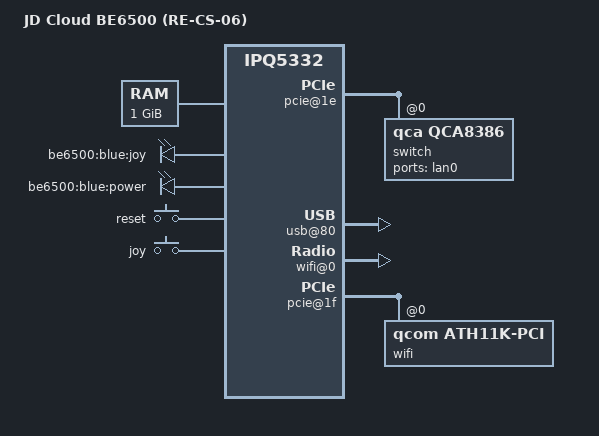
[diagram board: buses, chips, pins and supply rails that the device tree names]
/dts-v1/;
#include "ipq5332.dtsi"
#include "qcom-ipq5332-pci.dtsi"

/ {
    model = "JD Cloud BE6500 (RE-CS-06)";
    compatible = "qcom,ipq5332-be6500", "qcom,ipq5332";

    memory@0 {
        device_type = "memory";
        reg = <0x0 0x40000000>; // 1GB DDR4
    };

    chosen {
        bootargs = "console=ttyMSM0,115200n8 root=PARTUUID=0000 rootfstype=squashfs noinitrd";
    };

    /* 网络交换芯片 QCA8386 */
    pcie@1e {
        compatible = "qcom,ipq5332-pcie";
        reg = <0x1e 0x4>;
        status = "okay";
        #address-cells = <3>;
        #size-cells = <2>;

        switch@0 {
            compatible = "qca,qca8386";
            reg = <0x0 0x0 0x0>;
            port@0 {
                label = "lan0";
                phy-handle = <&phy0>;
                phy-mode = "sgmii";
            };
            // 其他端口定义（需根据硬件连接补充）
        };
    };

    /* USB3.0控制器 */
    usb@80 {
        compatible = "qcom,ipq5332-usb3";
        reg = <0x80 0x100>;
        status = "okay";
    };

    /* 2.4G Wi-Fi 7（集成于CPU） */
    wifi@0 {
        compatible = "qcom,wmac";
        reg = <0x0 0x1000>;
        interrupts = <0x8 0x4>;
        qcom,wifi-mac-addr = [00 11 22 33 44 55];
    };

    /* 5G Wi-Fi（QCN6224） */
    pcie@1f {
        compatible = "qcom,ipq5332-pcie";
        reg = <0x1f 0x4>;
        status = "okay";

        wifi@0 {
            compatible = "qcom,ath11k-pci";
            reg = <0x0 0x0 0x0>;
            qcom,ath11k-fem = "qpf4559";
        };
    };

    /* LED & GPIO */
    gpio-leds {
        compatible = "gpio-leds";
        joy_led: led@0 {
            label = "be6500:blue:joy";
            gpios = <0x3 0x1>;
        };
        power {
            label = "be6500:blue:power";
            gpios = <0x5 0x0>;
        };
    };

    /* 按键 */
    gpio-keys {
        compatible = "gpio-keys";
        reset {
            label = "reset";
            gpios = <0x7 0x0>;
            linux,code = <0x198>;
        };
        joy_button {
            label = "joy";
            gpios = <0x9 0x0>;
            linux,code = <0x211>;
        };
    };
};
